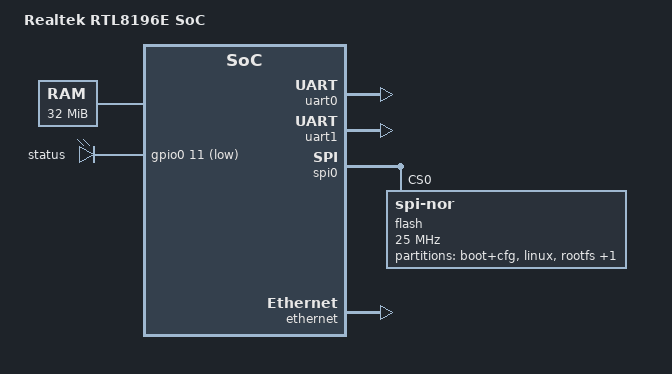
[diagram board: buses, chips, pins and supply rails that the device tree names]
// SPDX-License-Identifier: GPL-2.0
/dts-v1/;
#include <dt-bindings/gpio/gpio.h>
#include "rtl819x.dtsi"

/ {
	compatible = "realtek,rtl8196e", "realtek,rtl819x-soc";
	model = "Realtek RTL8196E SoC";

	chosen {
	    bootargs = "console=ttyS0,38400 loglevel=7 root=/dev/mtdblock2 rootfstype=squashfs";
	};

	memory@0 {
		device_type = "memory";
		reg = <0x00000000 0x02000000>;  /* 32MB */
	};

	reserved-memory {
		#address-cells = <1>;
		#size-cells = <1>;
		ranges;

		boothold@3ff000 {
			reg = <0x003FF000 0x1000>;  /* 4KB reserved for boothold flag */
			no-map;
		};
	};

	leds {
		compatible = "gpio-leds-pwm";

		status-led {
			label = "status";
			gpios = <&gpio0 11 GPIO_ACTIVE_LOW>;
			default-state = "off";
		};

		/* LAN LED (GPIO B2 / LED_PORT0) is hardwired to the switch
		 * ASIC LED output — GPIO has no physical effect on this LED.
		 * It is controlled via LEDCREG in the Ethernet driver. */
	};
};

/* Activation de l'UART0 pour la console */
&uart0 {
	status = "okay";
};

&uart1 {
	status = "okay";
};

&gpio0 {
	status = "okay";
};

/* Configuration SPI Flash */
&spi0 {
	status = "okay";
	
	flash@0 {
		compatible = "jedec,spi-nor";
		reg = <0>;
		spi-max-frequency = <25000000>;
		
		partitions {
			compatible = "fixed-partitions";
			#address-cells = <1>;
			#size-cells = <1>;
			
			partition@0 {
				label = "boot+cfg";
				reg = <0x000000 0x020000>;      /* 128 KB */
				read-only;
			};
			
			partition@20000 {
				label = "linux";
				reg = <0x020000 0x1e0000>;      /* 1920 KB (1.9 MB) */
			};
			
			partition@200000 {
				label = "rootfs";
				reg = <0x200000 0x200000>;      /* 2 MB  */
			};

			partition@420000 {
				label = "jffs2-fs";
				reg = <0x400000 0xc00000>;      /* 12 MB */
			};
		};
	};
};

/* Ethernet configuration */
&ethernet {
	status = "okay";
	#address-cells = <1>;
	#size-cells = <0>;

	/* DT v3.0: Full VLAN configuration with multi-interface support
	 * Each child node represents one network interface (eth0, eth1, etc.)
	 * Replaces hardcoded vlanconfig[] array in rtl_nic.c:260-267
	 */

	interface@0 {
		reg = <0>;
		ifname = "eth0";

		/* No local-mac-address: driver randomises at boot.
		 * S10network generates a stable locally-administered MAC on first
		 * boot, persists it to /userdata/etc/mac_address, and restores it
		 * on every subsequent boot via "ifconfig eth0 hw ether <mac>". */

		/* VLAN configuration */
		vlan-id = <1>;              /* VLAN ID (VID) */
		forwarding-id = <0>;        /* Forwarding database ID (FID) */
		member-ports = <0x10>;      /* Port mask: 0x10 = port 4 (bit 4 set) */
		untag-ports = <0x10>;       /* Untagged port mask: port 4 untagged */
		is-wan = <0>;               /* 0 = LAN interface, 1 = WAN interface */
		mtu = <1500>;               /* Maximum transmission unit */
	};

	/* Example for future eth1/WAN interface:
	 *
	 * interface@1 {
	 *     reg = <1>;
	 *     ifname = "eth1";
	 *     local-mac-address = [02 14 B8 EE B7 55];
	 *     vlan-id = <2>;
	 *     forwarding-id = <0>;
	 *     member-ports = <0x20>;    // Port 5 (bit 5)
	 *     untag-ports = <0x20>;
	 *     is-wan = <1>;             // WAN interface
	 *     mtu = <1500>;
	 * };
	 */
};
